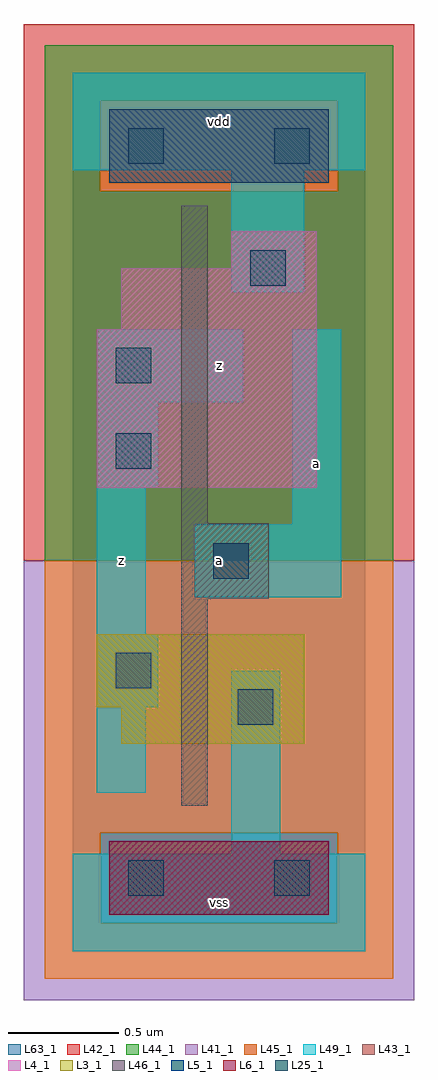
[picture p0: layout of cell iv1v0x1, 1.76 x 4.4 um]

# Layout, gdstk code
import gdstk
lib = gdstk.Library(unit=1e-6, precision=1e-09)
def R(c, l, rs):  # rectangles x0, y0, x1, y1
    for r in rs: c.add(gdstk.rectangle(r[:2], r[2:], *l))
L3_1 = (3, 1)
L4_1 = (4, 1)
L5_1 = (5, 1)
L6_1 = (6, 1)
L25_1 = (25, 1)
L41_1 = (41, 1)
L42_1 = (42, 1)
L43_1 = (43, 1)
L44_1 = (44, 1)
L45_1 = (45, 1)
L46_1 = (46, 1)
L49_1 = (49, 1)
L63_1 = (63, 1)

iv1v0x1 = lib.new_cell('iv1v0x1')
R(iv1v0x1, L3_1, [(0.22,0.935,1.045,1.1), (0.11,1.1,1.045,1.43)])
R(iv1v0x1, L4_1, [(0.11,2.09,1.1,2.805), (0.22,2.805,1.1,3.08), (0.715,3.08,1.1,3.245)])
R(iv1v0x1, L5_1, [(0.165,3.465,1.155,3.795)])
R(iv1v0x1, L6_1, [(0.165,0.165,1.155,0.495)])
R(iv1v0x1, L25_1, [(0.25,0.25,0.41,0.41), (0.91,0.25,1.07,0.41), (0.745,1.02,0.905,1.18), (0.195,1.185,0.355,1.345), (0.635,1.68,0.795,1.84), (0.195,2.175,0.355,2.335), (0.195,2.56,0.355,2.72), (0.8,3,0.96,3.16), (0.25,3.55,0.41,3.71), (0.91,3.55,1.07,3.71)])
R(iv1v0x1, L41_1, [(-0.22,-0.22,1.54,1.76)])
R(iv1v0x1, L42_1, [(-0.22,1.76,1.54,4.18)])
R(iv1v0x1, L43_1, [(0.165,0.165,1.155,0.495), (0.22,0.935,1.045,1.1), (0.11,1.1,1.045,1.43), (0.11,2.09,1.1,2.805), (0.22,2.805,1.1,3.08), (0.715,3.08,1.1,3.245), (0.165,3.465,1.155,3.795)])
R(iv1v0x1, L44_1, [(0.125,0.125,1.195,0.535), (-0.125,1.76,1.445,3.425), (-0.125,3.425,0.125,3.835), (1.195,3.425,1.445,3.835), (-0.125,3.835,1.445,4.085)])
R(iv1v0x1, L45_1, [(-0.125,-0.125,1.445,0.125), (-0.125,0.125,0.125,0.535), (1.195,0.125,1.445,0.535), (-0.125,0.535,1.445,1.76), (0.125,3.425,1.195,3.835)])
R(iv1v0x1, L46_1, [(0.49,0.655,0.61,1.59), (0.49,1.59,0.885,1.93), (0.49,1.93,0.61,3.36)])
R(iv1v0x1, L49_1, [(0,0,1.32,0.44), (0.715,0.44,0.935,1.265), (0.11,0.715,0.33,1.1), (0.11,1.1,0.385,1.43), (0.11,1.43,0.33,2.09), (0.55,1.595,1.21,1.925), (0.99,1.925,1.21,2.805), (0.11,2.09,0.385,2.475), (0.11,2.475,0.77,2.805), (0.715,2.97,1.045,3.52), (0,3.52,1.32,3.96)])
R(iv1v0x1, L63_1, [(0,0,1.32,3.96)])
iv1v0x1.add(gdstk.Label('z', (0.22,1.76), layer=49, texttype=1))
iv1v0x1.add(gdstk.Label('vss', (0.66,0.22), layer=49, texttype=1))
iv1v0x1.add(gdstk.Label('a', (0.66,1.76), layer=49, texttype=1))
iv1v0x1.add(gdstk.Label('z', (0.66,2.64), layer=49, texttype=1))
iv1v0x1.add(gdstk.Label('vdd', (0.66,3.74), layer=49, texttype=1))
iv1v0x1.add(gdstk.Label('a', (1.1,2.2), layer=49, texttype=1))

lib.write_gds('iv1v0x1.gds')
